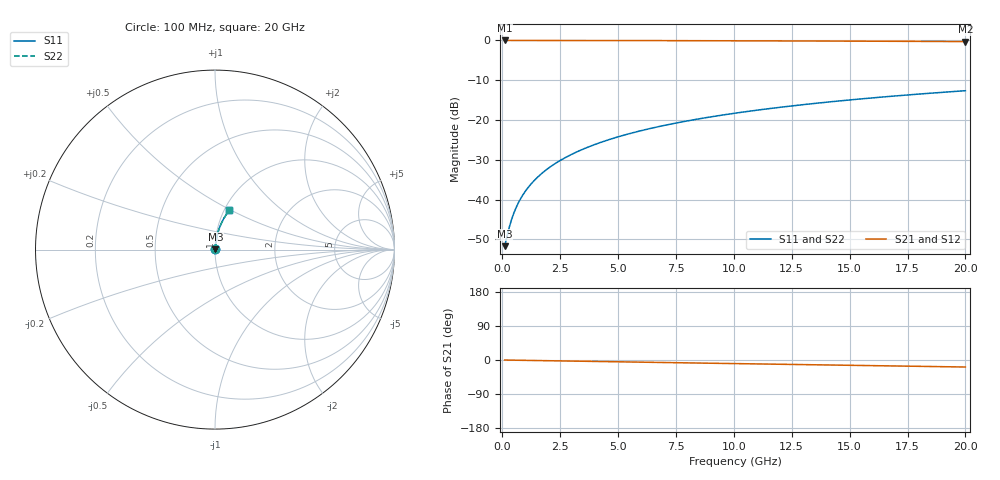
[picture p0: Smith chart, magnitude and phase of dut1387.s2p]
! Touchstone file exported from HFSS 2026.1.0
!  File:  C:/ffzhzh/LocalFiles/Ansys_Project_Files/temp_train_BSMRDL_1387_1783179649_55132.aedt
!  Generated:  11:42:03 PM Jul  4, 2026
!  Design:  BSMRDL
!  Project:  temp_train_BSMRDL_1387_1783179649_55132
! Variables:
!  h_bsmrdl = 2.66um
!  h_ox = 20um
!  h_rdl = 5um
!  h_sub = 80um
!  h_tmrdl = 5um
!  h_tsv = 80um
!  h_via = 3um
!  l_bsmrdl = 192.87um
!  l_sub = 592.87um
!  l_tmrdl = 200um
!  m_sub = 200um
!  pitch = 45.82um
!  r_tsv = 6um
!  s_tmrdl = 10um
!  w_bsmrdl = 12.52um
!  w_sub = 500um
!  w_tmrdl = 12um
!  x_tsv_center1 = 206um
!  x_tsv_center2 = 411.39um
!  x_tsv_center3 = 623.39um
!  x_tsv_center4 = 828.78um
!  x_tsv_center5 = 1040.78um
!  x_tsv_center6 = 1246.17um
# GHz S MA R 50.000000
! Terminal data exported
! Port[1] = BSM_RDL1_1_T1
! Port[2] = BSM_RDL1_1_T2
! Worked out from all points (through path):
!   200 points, 100 MHz to 20 GHz, reference 50 ohm
!   highest |S21| = -0.02 dB at 100 MHz (marker M1); lowest = -0.3 dB at 20 GHz (marker M2)
!   group delay of S21, straight-line fit = 2.57 ps
!   lowest |S11| = -51.7 dB at 100 MHz (marker M3), VSWR 1.01, Z = 50.2 + j0.129 ohm
!   |S11| at or under -10 dB: start of sweep to end of sweep
!   |S22| runs from -51.7 to -12.6 dB; largest |S21 - S12| = 4e-15
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0.1  0.002606 29.5  0.9977 -0.1  0.9977 -0.1  0.002606 29.5
! Gamma 0 0 0 0
! Port Impedance 50 0 50 0
0.3  0.004486 58.7  0.9977 -0.3  0.9977 -0.3  0.004486 58.7
0.4  0.005623 64.9  0.9976 -0.4  0.9976 -0.4  0.005623 64.9
0.5  0.006798 69.0  0.9976 -0.5  0.9976 -0.5  0.006798 69.0
0.6  0.007989 71.8  0.9975 -0.6  0.9975 -0.6  0.007989 71.8
0.7  0.009189 73.8  0.9975 -0.7  0.9975 -0.7  0.009189 73.8
0.9  0.0116 76.6  0.9974 -0.9  0.9974 -0.9  0.0116 76.6
1.2  0.01523 79.1  0.9973 -1.2  0.9973 -1.2  0.01523 79.1
1.4  0.01765 80.1  0.9972 -1.3  0.9972 -1.3  0.01765 80.1
1.7  0.02129 81.2  0.9971 -1.6  0.9971 -1.6  0.02129 81.2
2.2  0.02738 82.2  0.9969 -2.1  0.9969 -2.1  0.02738 82.2
2.8  0.0347 82.7  0.9966 -2.7  0.9966 -2.7  0.0347 82.7
3.5  0.04324 82.8  0.9962 -3.3  0.9962 -3.3  0.04324 82.8
4.2  0.05176 82.7  0.9957 -4.0  0.9957 -4.0  0.05176 82.7
5  0.06148 82.3  0.995 -4.8  0.995 -4.8  0.06148 82.3
5.9  0.07238 81.8  0.9941 -5.6  0.9941 -5.6  0.07238 81.8
6.8  0.08322 81.2  0.9931 -6.5  0.9931 -6.5  0.08322 81.2
8.3  0.1012 80.0  0.9911 -7.9  0.9911 -7.9  0.1012 80.0
10.1  0.1224 78.5  0.9884 -9.6  0.9884 -9.6  0.1224 78.5
13.4  0.1606 75.7  0.9822 -12.6  0.9822 -12.6  0.1606 75.7
16.7  0.1976 72.8  0.9748 -15.6  0.9748 -15.6  0.1976 72.8
20  0.2333 70.0  0.9663 -18.5  0.9663 -18.5  0.2333 70.0
